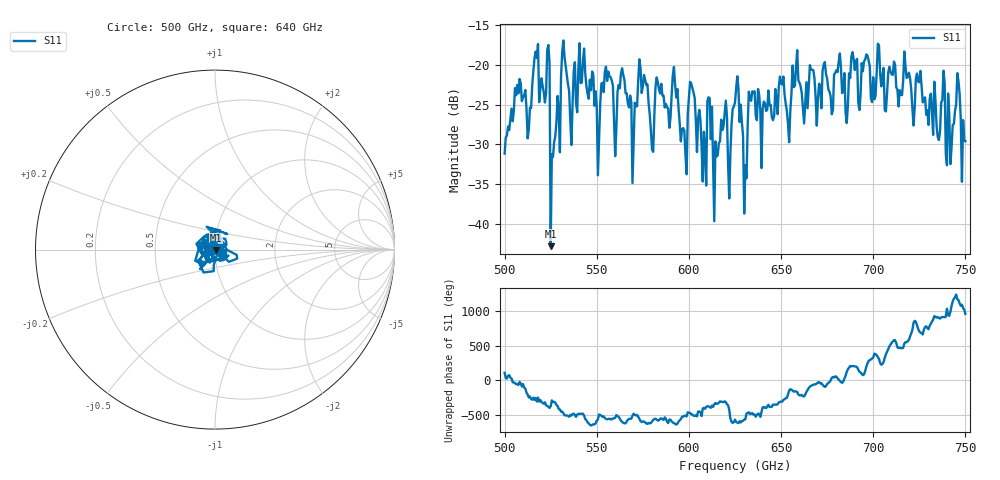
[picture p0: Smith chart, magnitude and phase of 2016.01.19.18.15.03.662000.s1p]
!Created with skrf (http://scikit-rf.org).
# GHz S RI R 50.0
!freq ReS11 ImS11
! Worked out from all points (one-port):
!   401 points, 500 GHz to 750 GHz, reference 50 ohm
!   lowest |S11| = -42.8 dB at 525 GHz (marker M1), VSWR 1.01, Z = 50.7 - j0.189 ohm
!   |S11| at or under -10 dB: start of sweep to end of sweep
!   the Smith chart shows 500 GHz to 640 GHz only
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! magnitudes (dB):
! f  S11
! 500 GHz  -31.2
! 506.9 GHz  -22.5
! 513.1 GHz  -28.1
! 516.9 GHz  -18.3
! 523.1 GHz  -18.1
! 525 GHz  -42.8
! 526.2 GHz  -31.6
! 531.2 GHz  -18.4
! 541.9 GHz  -22.2
! 550 GHz  -25.3
! 562.5 GHz  -22.9
! 570.6 GHz  -24.8
! 574.4 GHz  -23.5
! 580 GHz  -30.7
! 583.1 GHz  -22.2
! 593.8 GHz  -23.0
! 597.5 GHz  -28.3
! 601.9 GHz  -22.9
! 608.1 GHz  -28.4
! 611.2 GHz  -24.2
! 614.4 GHz  -29.6
! 625 GHz  -24.7
! 630.6 GHz  -32.6
! 633.8 GHz  -24.5
! 656.2 GHz  -20.1
! 687.5 GHz  -21.7
! 718.8 GHz  -21.5
! 750 GHz  -29.6
